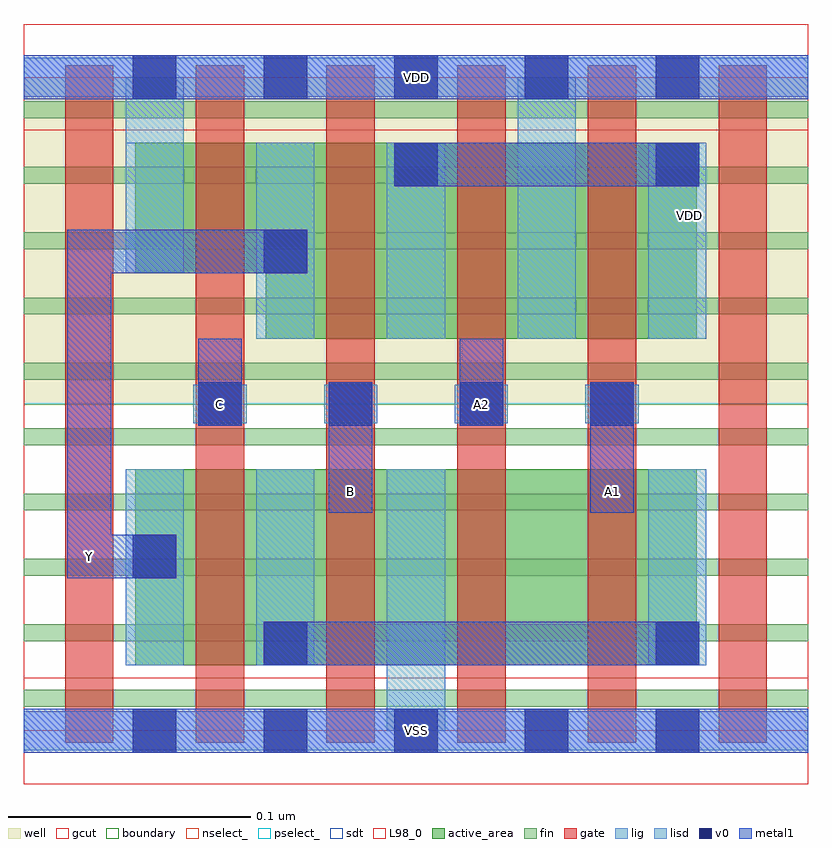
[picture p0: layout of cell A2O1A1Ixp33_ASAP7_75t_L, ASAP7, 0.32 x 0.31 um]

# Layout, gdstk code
import gdstk
lib = gdstk.Library(unit=1e-6, precision=2.5e-10)
def R(c, l, rs):  # rectangles x0, y0, x1, y1
    for r in rs: c.add(gdstk.rectangle(r[:2], r[2:], *l))
def A(c, l, x, y, w, h, nx, ny, dx, dy):  # array of equal rectangles
    R(c, l, [(x+i*dx, y+j*dy, x+i*dx+w, y+j*dy+h) for i in range(nx) for j in range(ny)])
def P(c, l, *ps):  # polygons
    for p in ps: c.add(gdstk.Polygon(p, *l))
well = (1, 0)
fin = (2, 0)
gate = (7, 0)
gcut = (10, 0)
active_area = (11, 0)
nselect_ = (12, 0)
pselect_ = (13, 0)
lig = (16, 0)
lisd = (17, 0)
v0 = (18, 0)
metal1 = (19, 0)
sdt = (88, 0)
L98_0 = (98, 0)
boundary = (100, 0)

a2o1a1ixp33_asap7_75t_l = lib.new_cell('A2O1A1Ixp33_ASAP7_75t_L')
R(a2o1a1ixp33_asap7_75t_l, well, [(0,0.135,0.324,0.27)])
A(a2o1a1ixp33_asap7_75t_l, fin, 0, 0.01, 0.324, 0.007, 1, 10, 0, 0.027)
A(a2o1a1ixp33_asap7_75t_l, gate, 0.017, -0.005, 0.02, 0.28, 6, 1, 0.054, 0)
R(a2o1a1ixp33_asap7_75t_l, gcut, [(0,-0.022,0.324,0.022), (0,0.248,0.324,0.292)])
R(a2o1a1ixp33_asap7_75t_l, active_area, [(0.046,0.027,0.278,0.108)])
P(a2o1a1ixp33_asap7_75t_l, active_area, [(0.046,0.189),(0.1,0.189),(0.1,0.162),(0.278,0.162),(0.278,0.243),(0.046,0.243)])
R(a2o1a1ixp33_asap7_75t_l, nselect_, [(0,0,0.324,0.135)])
R(a2o1a1ixp33_asap7_75t_l, pselect_, [(0,0.135,0.324,0.27)])
A(a2o1a1ixp33_asap7_75t_l, lig, 0.07, 0.127, 0.022, 0.016, 4, 1, 0.054, 0)
R(a2o1a1ixp33_asap7_75t_l, lig, [(0,-0.008,0.324,0.008), (0,0.262,0.324,0.278)])
R(a2o1a1ixp33_asap7_75t_l, lisd, [(0.15,0,0.174,0.108), (0.042,0.027,0.066,0.108), (0.096,0.027,0.12,0.108), (0.258,0.027,0.282,0.108), (0.096,0.162,0.12,0.243), (0.15,0.162,0.174,0.243), (0.204,0.162,0.228,0.27), (0.258,0.162,0.282,0.243), (0.042,0.189,0.066,0.27)])
A(a2o1a1ixp33_asap7_75t_l, v0, 0.045, -0.009, 0.018, 0.018, 5, 2, 0.054, 0.27)
A(a2o1a1ixp33_asap7_75t_l, v0, 0.072, 0.126, 0.018, 0.018, 4, 1, 0.054, 0)
R(a2o1a1ixp33_asap7_75t_l, v0, [(0.099,0.027,0.117,0.045), (0.261,0.027,0.279,0.045), (0.045,0.063,0.063,0.081), (0.099,0.189,0.117,0.207), (0.153,0.225,0.171,0.243), (0.261,0.225,0.279,0.243)])
R(a2o1a1ixp33_asap7_75t_l, metal1, [(0,-0.009,0.324,0.009), (0.099,0.027,0.279,0.045), (0.126,0.09,0.144,0.144), (0.234,0.09,0.252,0.144), (0.072,0.126,0.09,0.162), (0.18,0.126,0.198,0.162), (0.153,0.225,0.279,0.243), (0,0.261,0.324,0.279)])
P(a2o1a1ixp33_asap7_75t_l, metal1, [(0.063,0.081),(0.036,0.081),(0.036,0.189),(0.117,0.189),(0.117,0.207),(0.018,0.207),(0.018,0.063),(0.063,0.063)])
A(a2o1a1ixp33_asap7_75t_l, sdt, 0.042, 0.027, 0.024, 0.081, 3, 1, 0.054, 0)
A(a2o1a1ixp33_asap7_75t_l, sdt, 0.096, 0.162, 0.024, 0.081, 4, 1, 0.054, 0)
R(a2o1a1ixp33_asap7_75t_l, sdt, [(0.258,0.027,0.282,0.108), (0.042,0.189,0.066,0.243)])
R(a2o1a1ixp33_asap7_75t_l, L98_0, [(0,0,0.324,0.27)])
R(a2o1a1ixp33_asap7_75t_l, boundary, [(0,0,0.324,0.27)])
a2o1a1ixp33_asap7_75t_l.add(gdstk.Label('Y', (0.027,0.072), layer=19, texttype=251))
a2o1a1ixp33_asap7_75t_l.add(gdstk.Label('C', (0.081,0.135), layer=19, texttype=251))
a2o1a1ixp33_asap7_75t_l.add(gdstk.Label('B', (0.135,0.099), layer=19, texttype=251))
a2o1a1ixp33_asap7_75t_l.add(gdstk.Label('A2', (0.189,0.135), layer=19, texttype=251))
a2o1a1ixp33_asap7_75t_l.add(gdstk.Label('A1', (0.243,0.099), layer=19, texttype=251))
a2o1a1ixp33_asap7_75t_l.add(gdstk.Label('VSS', (0.162,0), layer=19, texttype=251))
a2o1a1ixp33_asap7_75t_l.add(gdstk.Label('VDD', (0.162,0.27), layer=19, texttype=251))
a2o1a1ixp33_asap7_75t_l.add(gdstk.Label('VDD', (0.275,0.213), layer=1, texttype=251))
a2o1a1ixp33_asap7_75t_l.add(gdstk.Label('VSS', (0.373,0.213), layer=3, texttype=251))

lib.write_gds('A2O1A1Ixp33_ASAP7_75t_L.gds')
